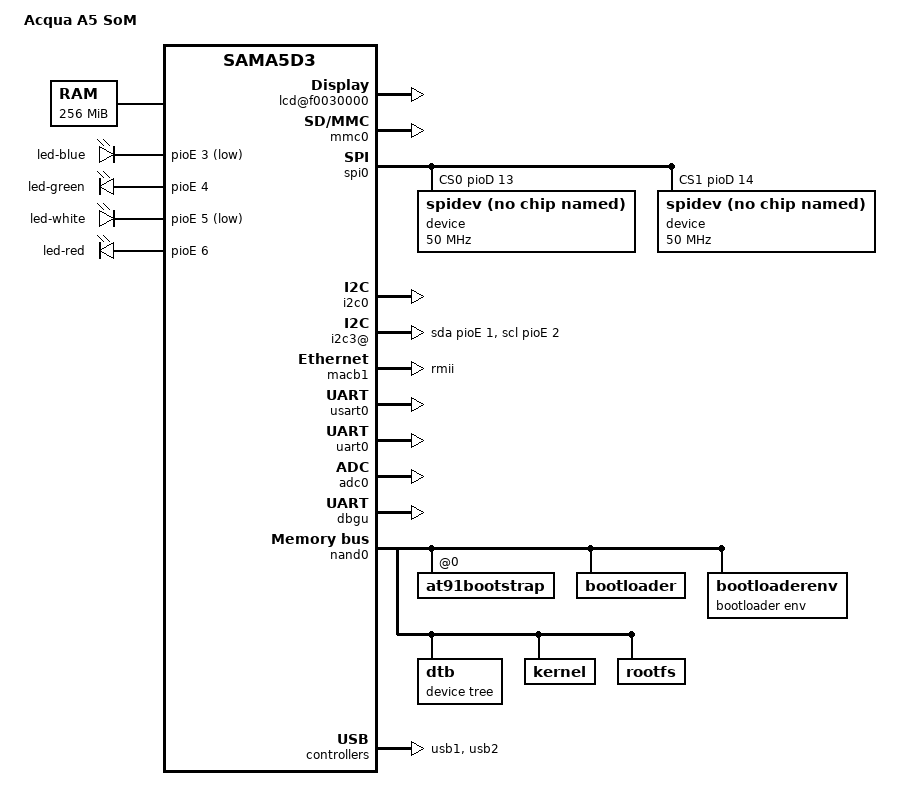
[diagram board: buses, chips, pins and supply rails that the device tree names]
/*
 * acme-acqua_lcd_70.dts 
 * Device Tree for Acqua A5 SoM with 7.0 inch lcd
 * with resistive touch
 *
 *  Copyright (C) 2014 Acme Systems,
 *		  2014 Sergio Tanzilli <tanzilli@atmel.com>
 *
 * Licensed under GPLv2 or later.
 */
/dts-v1/;
#include "sama5d3.dtsi"

/ {
	model = "Acqua A5 SoM";
	compatible = "acme,acqua", "pda,tm70xx", "atmel,sama5d3", "atmel,sama5";

	chosen {
		bootargs = "console=ttyS0,115200";
	};

	memory {
		reg = <0x20000000 0x10000000>;
	};

	clocks {
		#address-cells = <1>;
		#size-cells = <1>;
		ranges;

		main_clock: clock@0 {
			compatible = "atmel,osc", "fixed-clock";
			clock-frequency = <12000000>;
		};
	};

	ahb {
		apb {
				lcd_bus@f0030000 {
					status = "okay";

					lcd@f0030000 {
						status = "okay";
					};

					lcdovl1@f0030140 {
						status = "okay";
					};

					lcdovl2@f0030240 {
						status = "okay";
					};

					lcdheo1@f0030340 {
						status = "okay";
					};
				};

			mmc0: mmc@f0000000 {
				pinctrl-names = "default";
				pinctrl-0 = <&pinctrl_mmc0_clk_cmd_dat0 &pinctrl_mmc0_dat1_3 &pinctrl_mmc0_dat4_7 &pinctrl_mmc0_cd>;
				status = "okay";
				slot@0 {
					reg = <0>;
					bus-width = <4>;
				};
			};
			
			mmc1: mmc@f8000000 {
				pinctrl-names = "default";
				pinctrl-0 = <&pinctrl_mmc1_clk_cmd_dat0 &pinctrl_mmc1_dat1_3 &pinctrl_mmc1_cd>;
				status = "disabled";
				slot@0 {
					reg = <0>;
					bus-width = <4>;
				};
			};
			
			mmc2: mmc@f8004000 {
				pinctrl-names = "default";
				pinctrl-0 = <&pinctrl_mmc2_clk_cmd_dat0 &pinctrl_mmc2_dat1_3>;
				status = "disabled";
				slot@0 {
					reg = <0>;
					bus-width = <4>;
				};
			};
			

			spi0: spi@f0004000 {
				cs-gpios = <&pioD 13 0>, <&pioD 14 0>, <0>, <0>;
				status = "okay";
				
				device@0 {
					compatible = "spidev";
					spi-max-frequency = <50000000>;	    // 50 MHz
					reg = <0>;
				};

				device@1 {
					compatible = "spidev";
					spi-max-frequency = <50000000>;	    // 50 MHz
					reg = <1>;
				};
			};

			spi1: spi@f8008000 {
				cs-gpios = <&pioC 25 0>, <0>, <0>, <&pioD 16 0>;
				status = "disabled";

				device@0 {
					compatible = "spidev";
					spi-max-frequency = <50000000>;	    // 50 MHz
					reg = <0>;
				};
			};

			spi1: spi@f8008000 {
				cs-gpios = <&pioC 25 0>, <0>, <0>, <&pioD 16 0>;
				status = "disabled";
			};

			i2c0: i2c@f0014000 {
				status = "okay";
			};

			i2c1: i2c@f0018000 {
				status = "disabled";
			};

			i2c2: i2c@f801c000 {
				dmas = <0>, <0>;	/* Do not use DMA for i2c2 */
				status = "disabled";
			};

			/* Bit banging I2C wired on the Atmel MAC chip */
			i2c3@ {
				compatible = "i2c-gpio";
				gpios = <&pioE 1 0 /* SDA */
						 &pioE 2 0 /* SCK */
						>;

				/*i2c-gpio,sda-open-drain;*/
				/*i2c-gpio,scl-open-drain;*/
				i2c-gpio,delay-us = <4>;	/* ~178 kHz */
				#address-cells = <1>;
				#size-cells = <0>;

				/*rv3029c2@56 {
					compatible = "rv3029c2";
					reg = <0x56>;
				};*/
			};


			/* Giga Ethernet */
			macb0: ethernet@f0028000 {
				phy-mode = "rgmii";
				status = "disabled";
			};

			/* 10/100 Ethernet */
			macb1: ethernet@f802c000 {
				phy-mode = "rmii";
				status = "okay";
			};

			pwm0: pwm@f002c000 {
				pinctrl-names = "default";
				pinctrl-0 = <&pinctrl_pwm0_pwml0>;
				status = "disabled";
			};

			usart0: serial@f001c000 {
				status = "okay";
			};

			usart1: serial@f0020000 {
				pinctrl-names = "default";
				pinctrl-0 = <&pinctrl_usart1 &pinctrl_usart1_rts_cts>;
				status = "disabled";
			};

			uart0: serial@f0024000 {
				status = "okay";
			};
			
			can0: can@f000c000 {
				status = "disabled";
			};
			
			can1: can@f8010000 {
				status = "disabled";
			};
			
			adc0: adc@f8018000 {
				atmel,adc-clock-rate = <1000000>;
				atmel,adc-ts-wires = <4>;
				atmel,adc-ts-pressure-threshold = <10000>;
				status = "okay";
			};


			/*adc0: adc@f8018000 {
				pinctrl-names = "default";
				pinctrl-0 = <
					&pinctrl_adc0_adtrg
					&pinctrl_adc0_ad0
					&pinctrl_adc0_ad1
					&pinctrl_adc0_ad2
					&pinctrl_adc0_ad3
					&pinctrl_adc0_ad4
					&pinctrl_adc0_ad5
					&pinctrl_adc0_ad6
					&pinctrl_adc0_ad7
					&pinctrl_adc0_ad8
					&pinctrl_adc0_ad9
					>;
				status = "okay";
			};*/


			pinctrl@fffff200 {
				board {
					pinctrl_mmc0_cd: mmc0_cd {
						atmel,pins =
							<AT91_PIOE 0 AT91_PERIPH_GPIO AT91_PINCTRL_PULL_UP_DEGLITCH>;
					};

					pinctrl_mmc1_cd: mmc1_cd {
						atmel,pins =
							<AT91_PIOE 1 AT91_PERIPH_GPIO AT91_PINCTRL_PULL_UP_DEGLITCH>;
					};

					pinctrl_pwm0_pwml0: pwm0_pwml0 {
						atmel,pins =
							<AT91_PIOA 21 AT91_PERIPH_B AT91_PINCTRL_NONE>;
					};

					pinctrl_usba_vbus: usba_vbus {
						atmel,pins =
							<AT91_PIOE 9 AT91_PERIPH_GPIO AT91_PINCTRL_DEGLITCH>;	/* PE9, conflicts with A9 */
					};
				};
			};

			dbgu: serial@ffffee00 {
				status = "okay";
			};
		};

		nand0: nand@60000000 {
			nand-bus-width = <8>;
			nand-ecc-mode = "hw";
			atmel,has-pmecc;
			atmel,pmecc-cap = <4>;
			atmel,pmecc-sector-size = <512>;
			nand-on-flash-bbt;
			status = "okay";

			at91bootstrap@0 {
				label = "at91bootstrap";
				reg = <0x0 0x40000>;
			};

			bootloader@40000 {
				label = "bootloader";
				reg = <0x40000 0x80000>;
			};

			bootloaderenv@c0000 {
				label = "bootloader env";
				reg = <0xc0000 0xc0000>;
			};

			dtb@180000 {
				label = "device tree";
				reg = <0x180000 0x80000>;
			};

			kernel@200000 {
				label = "kernel";
				reg = <0x200000 0x600000>;
			};

			rootfs@800000 {
				label = "rootfs";
				reg = <0x800000 0x0f800000>;
			};
		};

		usb0: gadget@00500000 {
			atmel,vbus-gpio = <&pioE 9 GPIO_ACTIVE_HIGH>;	/* PE9, conflicts with A9 */
			pinctrl-names = "default";
			pinctrl-0 = <&pinctrl_usba_vbus>;
			status = "disabled";
		}; 

		usb1: ohci@00600000 {
			num-ports = <3>;
			status = "okay";
		};

		usb2: ehci@00700000 {
			status = "okay";
		};
	};

	gpio_keys {
		compatible = "gpio-keys";

		/* bp3 {
			label = "PB_USER";
			gpios = <&pioE 29 GPIO_ACTIVE_LOW>;
			linux,code = <0x104>;
			gpio-key,wakeup;
		}; */
	};

	leds {
		compatible = "gpio-leds";

		led-blue {
			label = "led-blue";
			gpios = <&pioE 3 GPIO_ACTIVE_LOW>;
			linux,default-trigger = "heartbeat";
		};

		led-green {
			label = "led-green";
			gpios = <&pioE 4 GPIO_ACTIVE_HIGH>;
			linux,default-trigger = "heartbeat";
		};

		led-white {
			label = "led-white";
			gpios = <&pioE 5 GPIO_ACTIVE_LOW>;
			linux,default-trigger = "heartbeat";
		};

		led-red {
			label = "led-red";
			gpios = <&pioE 6 GPIO_ACTIVE_HIGH>;
			linux,default-trigger = "heartbeat";
		};

	};

	sound {
		status = "disabled";
	};
};
